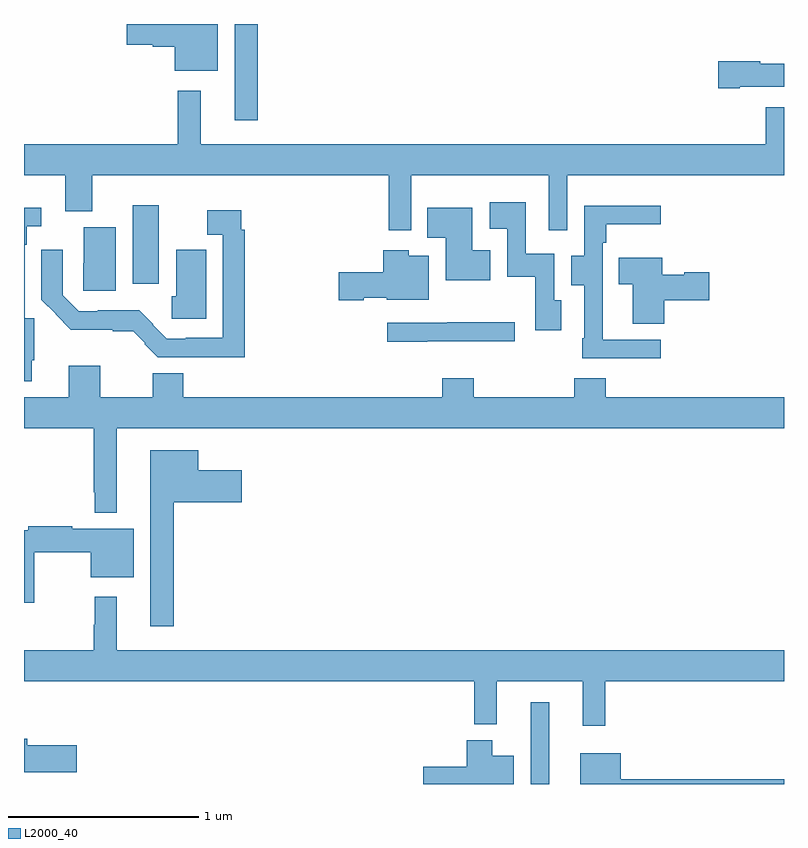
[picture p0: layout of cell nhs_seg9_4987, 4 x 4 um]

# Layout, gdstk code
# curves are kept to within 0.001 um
import gdstk
lib = gdstk.Library(unit=1e-6, precision=1e-09)
def R(c, l, rs):  # rectangles x0, y0, x1, y1
    for r in rs: c.add(gdstk.rectangle(r[:2], r[2:], *l))
def P(c, l, *ps):  # polygons
    for p in ps: c.add(gdstk.Polygon(p, *l))
L2000_40 = (2000, 40)

nhs_seg9_4987 = lib.new_cell('nhs_seg9_4987')
R(nhs_seg9_4987, L2000_40, [(401.667,1242.5,401.764,1242.931), (399.572,1245.132,399.709,1245.547), (400.109,1245.993,400.231,1246.5)])
P(nhs_seg9_4987, L2000_40, [(400.021,1246.5),(399.542,1246.5),(399.542,1246.391),(399.678,1246.391),(399.678,1246.379),(399.794,1246.379),(399.794,1246.253),(400.021,1246.253)],
  [(402.766,1246.169),(403,1246.169),(403,1246.291),(402.876,1246.291),(402.876,1246.304),(402.654,1246.304),(402.654,1246.162),(402.766,1246.162)],
  [(399,1245.704),(399.218,1245.704),(399.218,1245.515),(399.358,1245.515),(399.358,1245.704),(400.921,1245.704),(400.921,1245.414),(401.037,1245.414),(401.037,1245.704),(401.763,1245.704),(401.763,1245.414),(401.859,1245.414),(401.859,1245.704),(403,1245.704),(403,1246.063),(402.905,1246.063),(402.905,1245.868),(399.931,1245.868),(399.931,1246.15),(399.81,1246.15),(399.81,1245.868),(399,1245.868)],
  [(401.827,1245.045),(401.79,1245.045),(401.79,1245.292),(401.64,1245.292),(401.64,1245.562),(401.451,1245.562),(401.451,1245.422),(401.544,1245.422),(401.544,1245.17),(401.692,1245.17),(401.692,1244.889),(401.827,1244.889)],
  [(402.352,1244.838),(402.046,1244.838),(402.046,1245.035),(402.045,1245.035),(402.045,1245.35),(402.065,1245.35),(402.065,1245.446),(402.352,1245.446),(402.352,1245.544),(401.949,1245.544),(401.949,1245.279),(401.879,1245.279),(401.879,1245.124),(401.949,1245.124),(401.949,1244.845),(401.937,1244.845),(401.937,1244.742),(402.352,1244.742)],
  [(399.04,1244.731),(399.053,1244.731),(399.053,1244.952),(399.003,1244.952),(399.003,1245.338),(399.015,1245.338),(399.015,1245.435),(399.091,1245.435),(399.091,1245.532),(399,1245.532),(399,1244.621),(399.04,1244.621)],
  [(401.455,1245.31),(401.359,1245.31),(401.359,1245.532),(401.122,1245.532),(401.122,1245.374),(401.219,1245.374),(401.219,1245.152),(401.455,1245.152)],
  [(400.163,1245.416),(400.143,1245.416),(400.143,1245.52),(399.964,1245.52),(399.964,1245.392),(400.047,1245.392),(400.047,1244.848),(399.85,1244.848),(399.85,1244.844),(399.75,1244.844),(399.678,1244.916),(399.681,1244.919),(399.607,1244.993),(399.388,1244.993),(399.388,1244.988),(399.288,1244.988),(399.204,1245.072),(399.204,1245.313),(399.092,1245.313),(399.092,1245.048),(399.247,1244.891),(399.467,1244.891),(399.467,1244.883),(399.575,1244.883),(399.637,1244.821),(399.633,1244.817),(399.703,1244.747),(400.163,1244.747)],
  [(399.484,1245.43),(399.314,1245.43),(399.314,1245.24),(399.312,1245.24),(399.312,1245.096),(399.484,1245.096)],
  [(399.958,1245.311),(399.8,1245.311),(399.8,1245.066),(399.777,1245.066),(399.777,1244.949),(399.958,1244.949)],
  [(400.788,1245.059),(400.908,1245.059),(400.908,1245.05),(401.131,1245.05),(401.131,1245.28),(401.026,1245.28),(401.026,1245.31),(400.892,1245.31),(400.892,1245.194),(400.656,1245.194),(400.656,1245.047),(400.788,1245.047)],
  [(402.371,1245.047),(402.607,1245.047),(402.607,1245.194),(402.474,1245.194),(402.474,1245.181),(402.358,1245.181),(402.358,1245.271),(402.13,1245.271),(402.13,1245.131),(402.203,1245.131),(402.203,1244.923),(402.371,1244.923)],
  [(401.123,1244.831),(401.584,1244.831),(401.584,1244.931),(401.227,1244.931),(401.227,1244.928),(400.911,1244.928),(400.911,1244.827),(401.123,1244.827)],
  [(399.487,1244.372),(403,1244.372),(403,1244.536),(402.062,1244.536),(402.062,1244.635),(401.897,1244.635),(401.897,1244.536),(401.366,1244.536),(401.366,1244.635),(401.201,1244.635),(401.201,1244.536),(399.838,1244.536),(399.838,1244.662),(399.677,1244.662),(399.677,1244.536),(399.4,1244.536),(399.4,1244.701),(399.236,1244.701),(399.236,1244.536),(399,1244.536),(399,1244.372),(399.366,1244.372),(399.366,1244.035),(399.372,1244.035),(399.372,1243.928),(399.487,1243.928)],
  [(399.787,1243.982),(400.147,1243.982),(400.147,1244.152),(399.916,1244.152),(399.916,1244.257),(399.665,1244.257),(399.665,1243.329),(399.787,1243.329)],
  [(399.054,1243.72),(399.35,1243.72),(399.35,1243.589),(399.577,1243.589),(399.577,1243.843),(399.254,1243.843),(399.254,1243.856),(399.022,1243.856),(399.022,1243.836),(399,1243.836),(399,1243.455),(399.054,1243.455)],
  [(402.059,1243.04),(403,1243.04),(403,1243.204),(399.487,1243.204),(399.487,1243.486),(399.373,1243.486),(399.373,1243.337),(399.366,1243.337),(399.366,1243.204),(399,1243.204),(399,1243.04),(401.371,1243.04),(401.371,1242.815),(401.489,1242.815),(401.489,1243.04),(401.942,1243.04),(401.942,1242.807),(402.059,1242.807)],
  [(399.277,1242.705),(399.016,1242.705),(399.016,1242.739),(399,1242.739),(399,1242.563),(399.277,1242.563)],
  [(401.578,1242.649),(401.464,1242.649),(401.464,1242.73),(401.33,1242.73),(401.33,1242.591),(401.1,1242.591),(401.1,1242.5),(401.578,1242.5)],
  [(403,1242.524),(402.142,1242.524),(402.142,1242.661),(401.927,1242.661),(401.927,1242.5),(403,1242.5)])

lib.write_gds('nhs_seg9_4987.gds')
